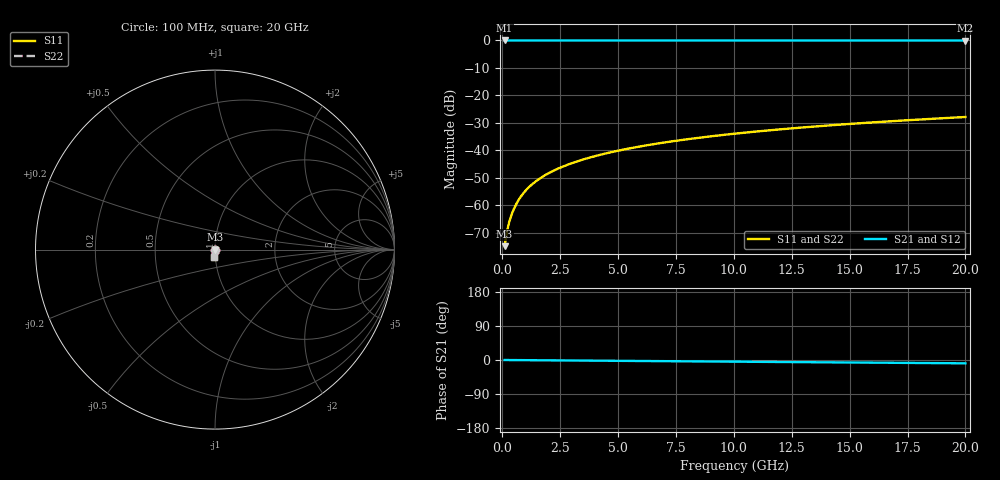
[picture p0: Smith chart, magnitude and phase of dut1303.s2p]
! Touchstone file exported from HFSS 2026.1.0
!  File:  C:/ffzhzh/LocalFiles/Ansys_Project_Files/temp_train_TSV_1303_1783194803_51560.aedt
!  Generated:  03:54:43 AM Jul  5, 2026
!  Design:  TSV
!  Project:  temp_train_TSV_1303_1783194803_51560
! Variables:
!  h_bsmrdl = 2um
!  h_ox = 20um
!  h_rdl = 5um
!  h_sub = 87.42um
!  h_tmrdl = 5um
!  h_tsv = 87.42um
!  h_via = 3um
!  l_bsmrdl = 300um
!  l_sub = 426.92um
!  l_tmrdl = 200um
!  m_sub = 200um
!  pitch = 42.29um
!  r_tsv = 13.46um
!  s_tmrdl = 10um
!  w_bsmrdl = 18um
!  w_sub = 500um
!  w_tmrdl = 12um
!  x_tsv_center1 = 206um
!  x_tsv_center2 = 524um
!  x_tsv_center3 = 736um
!  x_tsv_center4 = 1054um
!  x_tsv_center5 = 1266um
!  x_tsv_center6 = 1584um
# GHz S MA R 50.000000
! Terminal data exported
! Port[1] = TSV1_1_T1
! Port[2] = TSV1_1_T2
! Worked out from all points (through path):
!   200 points, 100 MHz to 20 GHz, reference 50 ohm
!   highest |S21| = 0.00 dB at 100 MHz (marker M1); lowest = 0.0 dB at 20 GHz (marker M2)
!   group delay of S21, straight-line fit = 1.21 ps
!   lowest |S11| = -74.9 dB at 100 MHz (marker M3), VSWR 1.00, Z = 50 - j0.0154 ohm
!   |S11| at or under -10 dB: start of sweep to end of sweep
!   |S22| runs from -74.9 to -27.9 dB; largest |S21 - S12| = 4e-15
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0.1  0.0001797 -59.2  0.9999 -0.0  0.9999 -0.0  0.0001797 -59.2
! Gamma 0 0 0 0
! Port Impedance 50 0 50 0
0.2  0.000331 -71.0  0.9999 -0.1  0.9999 -0.1  0.000331 -71.0
0.3  0.0004964 -74.8  0.9999 -0.1  0.9999 -0.1  0.0004964 -74.8
0.4  0.0006717 -76.6  0.9998 -0.2  0.9998 -0.2  0.0006717 -76.6
0.5  0.0008549 -77.7  0.9998 -0.2  0.9998 -0.2  0.0008549 -77.7
0.7  0.001237 -79.4  0.9998 -0.3  0.9998 -0.3  0.001237 -79.4
0.8  0.001433 -80.0  0.9997 -0.4  0.9997 -0.4  0.001433 -80.0
1  0.001829 -81.3  0.9997 -0.4  0.9997 -0.4  0.001829 -81.3
1.2  0.002228 -82.3  0.9997 -0.5  0.9997 -0.5  0.002228 -82.3
1.4  0.002627 -83.1  0.9997 -0.6  0.9997 -0.6  0.002627 -83.1
1.7  0.003226 -84.2  0.9996 -0.8  0.9996 -0.8  0.003226 -84.2
2  0.003824 -85.0  0.9996 -0.9  0.9996 -0.9  0.003824 -85.0
2.7  0.005219 -86.3  0.9995 -1.2  0.9995 -1.2  0.005219 -86.3
3.5  0.006819 -87.3  0.9995 -1.5  0.9995 -1.5  0.006819 -87.3
4.2  0.008224 -88.0  0.9994 -1.9  0.9994 -1.9  0.008224 -88.0
5  0.009836 -88.7  0.9994 -2.2  0.9994 -2.2  0.009836 -88.7
6.8  0.01348 -90.0  0.9992 -3.0  0.9992 -3.0  0.01348 -90.0
8.3  0.01653 -90.9  0.9991 -3.6  0.9991 -3.6  0.01653 -90.9
10.1  0.0202 -92.0  0.9989 -4.4  0.9989 -4.4  0.0202 -92.0
13.4  0.02693 -93.8  0.9987 -5.9  0.9987 -5.9  0.02693 -93.8
16.7  0.03366 -95.4  0.9983 -7.3  0.9983 -7.3  0.03366 -95.4
20  0.0404 -97.0  0.998 -8.7  0.998 -8.7  0.0404 -97.0
